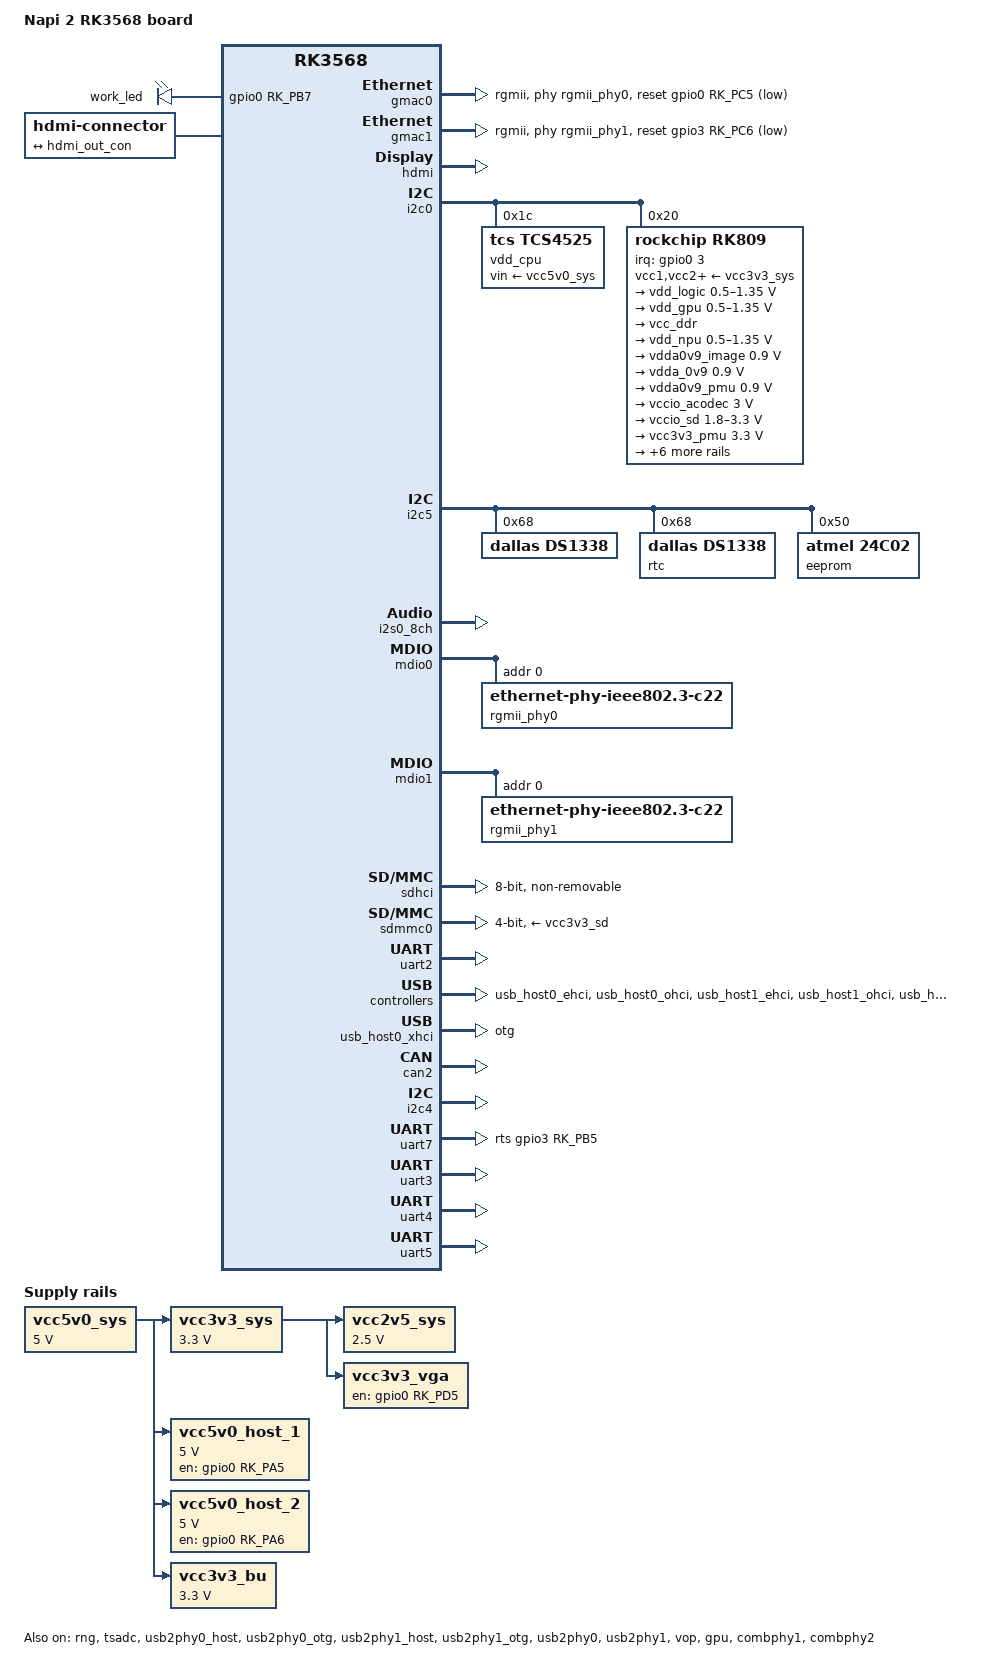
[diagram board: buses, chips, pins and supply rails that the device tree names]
// SPDX-License-Identifier: (GPL-2.0+ OR MIT)
/*
 * Copyright (c) 2020 Rockchip Electronics Co., Ltd.
 *
 */

/dts-v1/;

#include <dt-bindings/gpio/gpio.h>
#include <dt-bindings/pinctrl/rockchip.h>
#include <dt-bindings/gpio/gpio.h>
#include <dt-bindings/pwm/pwm.h>
#include <dt-bindings/pinctrl/rockchip.h>
#include "rk3568.dtsi"
#include <dt-bindings/soc/rockchip,vop2.h>

/ {
	model = "Napi 2 RK3568 board";
	compatible = "nnz,napi-2", "rockchip,rk3568";

	chosen: chosen {
		stdout-path = "serial2:1500000n8";
	};

	aliases {
		ethernet0 = &gmac0;
		ethernet1 = &gmac1;
		mmc0 = &sdhci;
		mmc1 = &sdmmc0;
	};

	firmware {
		optee: optee {
			compatible = "linaro,optee-tz";
			method = "smc";
		};
	};

hdmi_sound: hdmi-sound {
        compatible = "simple-audio-card";
        simple-audio-card,name = "rockchip-hdmi";
        simple-audio-card,format = "i2s";
        simple-audio-card,mclk-fs = <128>;   /* аналог твоего rockchip,mclk-fs */

        simple-audio-card,cpu {
            sound-dai = <&i2s0_8ch>;
        };

        simple-audio-card,codec {
            sound-dai = <&hdmi>;
        };
    };
	
        leds: leds {
		compatible = "gpio-leds";

		work_led: work {
			gpios = <&gpio0 RK_PB7 GPIO_ACTIVE_HIGH>;
			linux,default-trigger = "heartbeat";
		};
	};

	vcc3v3_sys: vcc3v3-sys {
		compatible = "regulator-fixed";
		regulator-name = "vcc3v3_sys";
		regulator-always-on;
		regulator-boot-on;
		regulator-min-microvolt = <3300000>;
		regulator-max-microvolt = <3300000>;
		vin-supply = <&vcc5v0_sys>;
	};

	vcc5v0_sys: vcc5v0-sys {
		compatible = "regulator-fixed";
		regulator-name = "vcc5v0_sys";
		regulator-always-on;
		regulator-boot-on;
		regulator-min-microvolt = <5000000>;
		regulator-max-microvolt = <5000000>;
	};

	vcc5v0_host_1: vcc5v0-host-1-regulator {
		compatible = "regulator-fixed";
		regulator-name = "vcc5v0_host_1";
		regulator-boot-on;
		regulator-always-on;
		regulator-min-microvolt = <5000000>;
		regulator-max-microvolt = <5000000>;
		enable-active-high;
		gpio = <&gpio0 RK_PA5 GPIO_ACTIVE_HIGH>;
		vin-supply = <&vcc5v0_sys>;
		pinctrl-names = "default";
		pinctrl-0 = <&vcc5v0_host_en_1>;
	};

	vcc5v0_host_2: vcc5v0-host-2-regulator {
		compatible = "regulator-fixed";
		regulator-name = "vcc5v0_host_2";
		regulator-boot-on;
		regulator-always-on;
		regulator-min-microvolt = <5000000>;
		regulator-max-microvolt = <5000000>;
		enable-active-high;
		gpio = <&gpio0 RK_PA6 GPIO_ACTIVE_HIGH>;
		vin-supply = <&vcc5v0_sys>;
		pinctrl-names = "default";
		pinctrl-0 = <&vcc5v0_host_en_2>;
	};

	vcc2v5_sys: vcc2v5-ddr {
		compatible = "regulator-fixed";
		regulator-name = "vcc2v5-sys";
		regulator-always-on;
		regulator-boot-on;
		regulator-min-microvolt = <2500000>;
		regulator-max-microvolt = <2500000>;
		vin-supply = <&vcc3v3_sys>;
	};

	vcc3v3_vga: vcc3v3-vga {
		compatible = "regulator-fixed";
		regulator-name = "vcc3v3_vga";
		regulator-always-on;
		regulator-boot-on;
		gpio = <&gpio0 RK_PD5 GPIO_ACTIVE_HIGH>;
		enable-active-high;
		vin-supply = <&vcc3v3_sys>;
	};

	vcc3v3_bu: vcc3v3-bu {
		compatible = "regulator-fixed";
		regulator-name = "vcc3v3_bu";
		regulator-always-on;
		regulator-boot-on;
		regulator-min-microvolt = <3300000>;
		regulator-max-microvolt = <3300000>;
		vin-supply = <&vcc5v0_sys>;
	};
	hdmi-con {
		compatible = "hdmi-connector";
		type = "a";
		port {
			hdmi_con_in: endpoint {
				remote-endpoint = <&hdmi_out_con>;
			};
		};
	};
};







&cpu0 {
	cpu-supply = <&vdd_cpu>;
};

&cpu1 {
	cpu-supply = <&vdd_cpu>;
};

&cpu2 {
	cpu-supply = <&vdd_cpu>;
};

&cpu3 {
	cpu-supply = <&vdd_cpu>;
};





&gmac0 {
	phy-mode = "rgmii";
	clock_in_out = "output";

	snps,reset-gpio = <&gpio0 RK_PC5 GPIO_ACTIVE_LOW>;
	snps,reset-active-low;
	/* Reset time is 15ms, 50ms for rtl8211f */
	snps,reset-delays-us = <0 15000 50000>;

	assigned-clocks = <&cru SCLK_GMAC0_RX_TX>, <&cru SCLK_GMAC0>;
	assigned-clock-parents = <&cru SCLK_GMAC0_RGMII_SPEED>, <&cru CLK_MAC0_2TOP>;
	assigned-clock-rates = <0>, <125000000>;

	pinctrl-names = "default";
	pinctrl-0 = <&gmac0_miim
		     &gmac0_tx_bus2
		     &gmac0_rx_bus2
		     &gmac0_rgmii_clk
		     &gmac0_rgmii_bus>;

	tx_delay = <0x38>;
	rx_delay = <0x07>;

	phy-handle = <&rgmii_phy0>;
	status = "okay";
};

&gmac1 {
	phy-mode = "rgmii";
	clock_in_out = "output";

	snps,reset-gpio = <&gpio3 RK_PC6 GPIO_ACTIVE_LOW>;
	snps,reset-active-low;
	/* Reset time is 15ms, 50ms for rtl8211f */
	snps,reset-delays-us = <0 15000 50000>;

	assigned-clocks = <&cru SCLK_GMAC1_RX_TX>, <&cru SCLK_GMAC1>;
	assigned-clock-parents = <&cru SCLK_GMAC1_RGMII_SPEED>, <&cru CLK_MAC1_2TOP>;
	assigned-clock-rates = <0>, <125000000>;

	pinctrl-names = "default";
	pinctrl-0 = <&gmac1m1_miim
		     &gmac1m1_tx_bus2
		     &gmac1m1_rx_bus2
		     &gmac1m1_rgmii_clk
		     &gmac1m1_rgmii_bus>;

	tx_delay = <0x4c>;
	rx_delay = <0x22>;

	phy-handle = <&rgmii_phy1>;
	status = "okay";
};

&hdmi {
	status = "okay";
	rockchip,phy-table =
		<92812500  0x8009 0x0000 0x0270>,
		<165000000 0x800b 0x0000 0x026d>,
		<185625000 0x800b 0x0000 0x01ed>,
		<297000000 0x800b 0x0000 0x01ad>,
		<594000000 0x8029 0x0000 0x0088>,
		<000000000 0x0000 0x0000 0x0000>;
};





&i2c0 {
	status = "okay";

	vdd_cpu: tcs4525@1c {
		compatible = "tcs,tcs4525";
		reg = <0x1c>;
		vin-supply = <&vcc5v0_sys>;
		regulator-compatible = "fan53555-reg";
		regulator-name = "vdd_cpu";
		regulator-min-microvolt = <712500>;
		regulator-max-microvolt = <1390000>;
		regulator-init-microvolt = <900000>;
		regulator-ramp-delay = <2300>;
		fcs,suspend-voltage-selector = <1>;
		regulator-boot-on;
		regulator-always-on;
		regulator-state-mem {
			regulator-off-in-suspend;
		};
	};

	rk809: pmic@20 {
		compatible = "rockchip,rk809";
		reg = <0x20>;
		interrupt-parent = <&gpio0>;
		interrupts = <3 IRQ_TYPE_LEVEL_LOW>;

		pinctrl-names = "default", "pmic-sleep",
				"pmic-power-off", "pmic-reset";
		pinctrl-0 = <&pmic_int>;
		pinctrl-1 = <&soc_slppin_slp>, <&rk817_slppin_slp>;
		pinctrl-2 = <&soc_slppin_gpio>, <&rk817_slppin_pwrdn>;
		pinctrl-3 = <&soc_slppin_gpio>, <&rk817_slppin_rst>;

		rockchip,system-power-controller;
		wakeup-source;
		#clock-cells = <1>;
		clock-output-names = "rk808-clkout1", "rk808-clkout2";
		//fb-inner-reg-idxs = <2>;
		/* 1: rst regs (default in codes), 0: rst the pmic */
		pmic-reset-func = <0>;
		/* not save the PMIC_POWER_EN register in uboot */
		not-save-power-en = <1>;

		vcc1-supply = <&vcc3v3_sys>;
		vcc2-supply = <&vcc3v3_sys>;
		vcc3-supply = <&vcc3v3_sys>;
		vcc4-supply = <&vcc3v3_sys>;
		vcc5-supply = <&vcc3v3_sys>;
		vcc6-supply = <&vcc3v3_sys>;
		vcc7-supply = <&vcc3v3_sys>;
		vcc8-supply = <&vcc3v3_sys>;
		vcc9-supply = <&vcc3v3_sys>;

		pwrkey {
			status = "okay";
		};

		pinctrl_rk8xx: pinctrl_rk8xx {
			gpio-controller;
			#gpio-cells = <2>;

			rk817_slppin_null: rk817_slppin_null {
				pins = "gpio_slp";
				function = "pin_fun0";
			};

			rk817_slppin_slp: rk817_slppin_slp {
				pins = "gpio_slp";
				function = "pin_fun1";
			};

			rk817_slppin_pwrdn: rk817_slppin_pwrdn {
				pins = "gpio_slp";
				function = "pin_fun2";
			};

			rk817_slppin_rst: rk817_slppin_rst {
				pins = "gpio_slp";
				function = "pin_fun3";
			};
		};

		regulators {
			vdd_logic: DCDC_REG1 {
				regulator-always-on;
				regulator-boot-on;
				regulator-min-microvolt = <500000>;
				regulator-max-microvolt = <1350000>;
				regulator-init-microvolt = <900000>;
				regulator-ramp-delay = <6001>;
				regulator-initial-mode = <0x2>;
				regulator-name = "vdd_logic";
				regulator-state-mem {
					regulator-off-in-suspend;
				};
			};

			vdd_gpu: DCDC_REG2 {
				regulator-always-on;
				regulator-boot-on;
				regulator-min-microvolt = <500000>;
				regulator-max-microvolt = <1350000>;
				regulator-init-microvolt = <900000>;
				regulator-ramp-delay = <6001>;
				regulator-initial-mode = <0x2>;
				regulator-name = "vdd_gpu";
				regulator-state-mem {
					regulator-off-in-suspend;
				};
			};

			vcc_ddr: DCDC_REG3 {
				regulator-always-on;
				regulator-boot-on;
				regulator-initial-mode = <0x2>;
				regulator-name = "vcc_ddr";
				regulator-state-mem {
					regulator-on-in-suspend;
				};
			};

			vdd_npu: DCDC_REG4 {
				regulator-always-on;
				regulator-boot-on;
				regulator-min-microvolt = <500000>;
				regulator-max-microvolt = <1350000>;
				regulator-init-microvolt = <900000>;
				regulator-ramp-delay = <6001>;
				regulator-initial-mode = <0x2>;
				regulator-name = "vdd_npu";
				regulator-state-mem {
					regulator-off-in-suspend;
				};
			};

			vdda0v9_image: LDO_REG1 {
				regulator-boot-on;
				regulator-always-on;
				regulator-min-microvolt = <900000>;
				regulator-max-microvolt = <900000>;
				regulator-name = "vdda0v9_image";
				regulator-state-mem {
					regulator-off-in-suspend;
				};
			};

			vdda_0v9: LDO_REG2 {
				regulator-always-on;
				regulator-boot-on;
				regulator-min-microvolt = <900000>;
				regulator-max-microvolt = <900000>;
				regulator-name = "vdda_0v9";
				regulator-state-mem {
					regulator-off-in-suspend;
				};
			};

			vdda0v9_pmu: LDO_REG3 {
				regulator-always-on;
				regulator-boot-on;
				regulator-min-microvolt = <900000>;
				regulator-max-microvolt = <900000>;
				regulator-name = "vdda0v9_pmu";
				regulator-state-mem {
					regulator-on-in-suspend;
					regulator-suspend-microvolt = <900000>;
				};
			};

			vccio_acodec: LDO_REG4 {
				regulator-always-on;
				regulator-boot-on;
				regulator-min-microvolt = <3000000>;
				regulator-max-microvolt = <3000000>;
				regulator-name = "vccio_acodec";
				regulator-state-mem {
					regulator-off-in-suspend;
				};
			};

			vccio_sd: LDO_REG5 {
				regulator-always-on;
				regulator-boot-on;
				regulator-min-microvolt = <1800000>;
				regulator-max-microvolt = <3300000>;
				regulator-name = "vccio_sd";
				regulator-state-mem {
					regulator-off-in-suspend;
				};
			};

			vcc3v3_pmu: LDO_REG6 {
				regulator-always-on;
				regulator-boot-on;
				regulator-min-microvolt = <3300000>;
				regulator-max-microvolt = <3300000>;
				regulator-name = "vcc3v3_pmu";
				regulator-state-mem {
					regulator-on-in-suspend;
					regulator-suspend-microvolt = <3300000>;
				};
			};

			vcca_1v8: LDO_REG7 {
				regulator-always-on;
				regulator-boot-on;
				regulator-min-microvolt = <1800000>;
				regulator-max-microvolt = <1800000>;
				regulator-name = "vcca_1v8";
				regulator-state-mem {
					regulator-off-in-suspend;
				};
			};

			vcca1v8_pmu: LDO_REG8 {
				regulator-always-on;
				regulator-boot-on;
				regulator-min-microvolt = <1800000>;
				regulator-max-microvolt = <1800000>;
				regulator-name = "vcca1v8_pmu";
				regulator-state-mem {
					regulator-on-in-suspend;
					regulator-suspend-microvolt = <1800000>;
				};
			};

			vcca1v8_image: LDO_REG9 {
				regulator-always-on;
				regulator-boot-on;
				regulator-min-microvolt = <1800000>;
				regulator-max-microvolt = <1800000>;
				regulator-name = "vcca1v8_image";
				regulator-state-mem {
					regulator-off-in-suspend;
				};
			};

			vcc_1v8: DCDC_REG5 {
				regulator-always-on;
				regulator-boot-on;
				regulator-min-microvolt = <1800000>;
				regulator-max-microvolt = <1800000>;
				regulator-name = "vcc_1v8";
				regulator-state-mem {
					regulator-off-in-suspend;
				};
			};

			vcc_3v3: SWITCH_REG1 {
				regulator-always-on;
				regulator-boot-on;
				regulator-name = "vcc_3v3";
				regulator-state-mem {
					regulator-off-in-suspend;
				};
			};

			vcc3v3_sd: SWITCH_REG2 {
				regulator-always-on;
				regulator-boot-on;
				regulator-name = "vcc3v3_sd";
				regulator-state-mem {
					regulator-off-in-suspend;
				};
			};
		};
	};
};

&i2c5 {
	status = "okay";

	ds1338@68 {
		compatible = "dallas,ds1338";
		reg = <0x68>;
	};
};

&i2s0_8ch {
	status = "okay";
};









&mdio0 {
	rgmii_phy0: phy@0 {
		compatible = "ethernet-phy-ieee802.3-c22";
		reg = <0x0>;
	};
};

&mdio1 {
	rgmii_phy1: phy@0 {
		compatible = "ethernet-phy-ieee802.3-c22";
		reg = <0x0>;
	};
};



&pinctrl {
	pmic {
		pmic_int: pmic_int {
			rockchip,pins = <0 RK_PA3 RK_FUNC_GPIO &pcfg_pull_up>;
		};

		soc_slppin_gpio: soc_slppin_gpio {
			rockchip,pins = <0 RK_PA2 RK_FUNC_GPIO &pcfg_output_low>;
		};

		soc_slppin_slp: soc_slppin_slp {
			rockchip,pins = <0 RK_PA2 1 &pcfg_pull_none>;
		};

		soc_slppin_rst: soc_slppin_rst {
			rockchip,pins = <0 RK_PA2 2 &pcfg_pull_none>;
		};
	};

	usb {
		vcc5v0_host_en_1: vcc5v0-host-en-1 {
			rockchip,pins = <0 RK_PA6 RK_FUNC_GPIO &pcfg_pull_none>;
		};

		vcc5v0_host_en_2: vcc5v0-host-en-2 {
			rockchip,pins = <0 RK_PA5 RK_FUNC_GPIO &pcfg_pull_none>;
		};
	};
};

&pmu_io_domains {
	pmuio2-supply = <&vcc3v3_pmu>;
	vccio1-supply = <&vccio_acodec>;
	vccio3-supply = <&vccio_sd>;
	vccio4-supply = <&vcc_3v3>;
	vccio5-supply = <&vcc_3v3>;
	vccio6-supply = <&vcc_3v3>;
	vccio7-supply = <&vcc_3v3>;
	status = "okay";
};



&rng {
	status = "okay";
};





&sdhci {
	bus-width = <8>;
	no-sdio;
	no-sd;
	non-removable;
	max-frequency = <200000000>;
	full-pwr-cycle-in-suspend;
	status = "okay";
};

&sdmmc0 {
	max-frequency = <150000000>;
	no-sdio;
	no-mmc;
	bus-width = <4>;
	cap-mmc-highspeed;
	cap-sd-highspeed;
	disable-wp;
	sd-uhs-sdr104;
	vmmc-supply = <&vcc3v3_sd>;
	vqmmc-supply = <&vccio_sd>;
	pinctrl-names = "default";
	pinctrl-0 = <&sdmmc0_bus4 &sdmmc0_clk &sdmmc0_cmd &sdmmc0_det>;
	status = "okay";
};

&tsadc {
	status = "okay";
};

&uart2 {
	status = "okay";
};


&usb2phy0_host {
	status = "okay";
};

&usb2phy0_otg {
	status = "okay";
};

&usb2phy1_host {
	phy-supply = <&vcc5v0_host_1>;
	status = "okay";
};

&usb2phy1_otg {
	phy-supply = <&vcc5v0_host_1>;
	status = "okay";
};

&usb2phy0 {
	status = "okay";
};

&usb2phy1 {
	status = "okay";
};

&usb_host0_ehci {
	status = "okay";
};

&usb_host0_ohci {
	status = "okay";
};

&usb_host1_ehci {
	status = "okay";
};

&usb_host1_ohci {
	status = "okay";
};

&usb_host0_xhci {
	dr_mode = "otg";
	extcon = <&usb2phy0>;
	status = "okay";
};



&usb_host1_xhci {
	status = "okay";
};











&vop {
	status = "okay";
	vop-supply = <&vdd_logic>;
	assigned-clocks = <&cru DCLK_VOP0>, <&cru DCLK_VOP1>, <&cru DCLK_VOP2>;
	assigned-clock-parents = <&pmucru PLL_HPLL>, <&cru PLL_VPLL>, <&cru PLL_GPLL>;
	support-multi-area;
};


&vop_mmu {
	status = "okay";
};


&gpu {
    status = "okay";
};

&combphy1 {
	status = "okay";
};

&combphy2 {
	status = "okay";
};

&vp0 {
	vp0_out_hdmi: endpoint@ROCKCHIP_VOP2_EP_HDMI0 {
		reg = <ROCKCHIP_VOP2_EP_HDMI0>;
		remote-endpoint = <&hdmi_in_vp0>;
	};
};

&hdmi_in {
	hdmi_in_vp0: endpoint {
		remote-endpoint = <&vp0_out_hdmi>;
	};
};

&hdmi_out {
	hdmi_out_con: endpoint {
		remote-endpoint = <&hdmi_con_in>;
	};
};

&hdmi_sound {
	status = "okay";
};

//########## overlays ##########################

// can2

&can2 {
  status = "okay";
};

//i2c4

&i2c4 {
    status = "okay";
    pinctrl-names = "default";
    pinctrl-0 = <&i2c4m1_xfer>;
};

// RS485
&uart7 {
	pinctrl-0 = <&uart7m1_xfer>;
	pinctrl-names = "default";
	rts-gpios = <&gpio3 RK_PB5 GPIO_ACTIVE_HIGH>;
	rs485-rts-active-high;
	linux,rs485-enabled-at-boot-time;
	status = "okay";
};

//uarts in PLD

&uart3 {
        pinctrl-0 = <&uart3m0_xfer>;
        pinctrl-names = "default";
        status = "okay";
};

&uart4 {
        pinctrl-0 = <&uart4m1_xfer>;
        pinctrl-names = "default";
        status = "okay";
};

&uart5 {
        pinctrl-0 = <&uart5m1_xfer>;
        pinctrl-names = "default";
        status = "okay";
};

//RTC
&i2c5 { 
	status = "okay";

        pinctrl-names = "default";
        pinctrl-0 = <&i2c5m0_xfer>;

        #address-cells = <1>;
        #size-cells = <0>;
        /* RTC */
        rtc@68 {
            compatible = "dallas,ds1338";
            reg = <0x68>;
            status = "okay";
        };
       /* EEPROM CAT24AA02 (2Kbit = 256 bytes) @0x50 */
        eeprom@50 {
           compatible = "atmel,24c02";
           reg = <0x50>;

           size = <256>;
           pagesize = <16>;

           status = "okay";
         };
};


